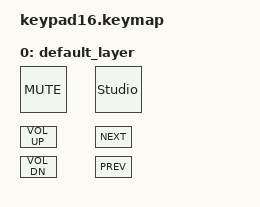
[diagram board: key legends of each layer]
#include <behaviors.dtsi>
#include <dt-bindings/zmk/keys.h>
#include <dt-bindings/zmk/outputs.h>

/ {
    keymap {
        compatible = "zmk,keymap";

        default_layer {
            /* Keymap positions:
             *   0: Left encoder button
             *   1: Right encoder button
             *   2: Left CW
             *   3: Left CCW
             *   4: Right CW
             *   5: Right CCW
             */
            bindings = <
                &kp C_MUTE    &studio_unlock
                &kp C_VOL_UP  &kp C_VOL_DN
                &kp C_NEXT    &kp C_PREV
            >;
        };
    };
};
